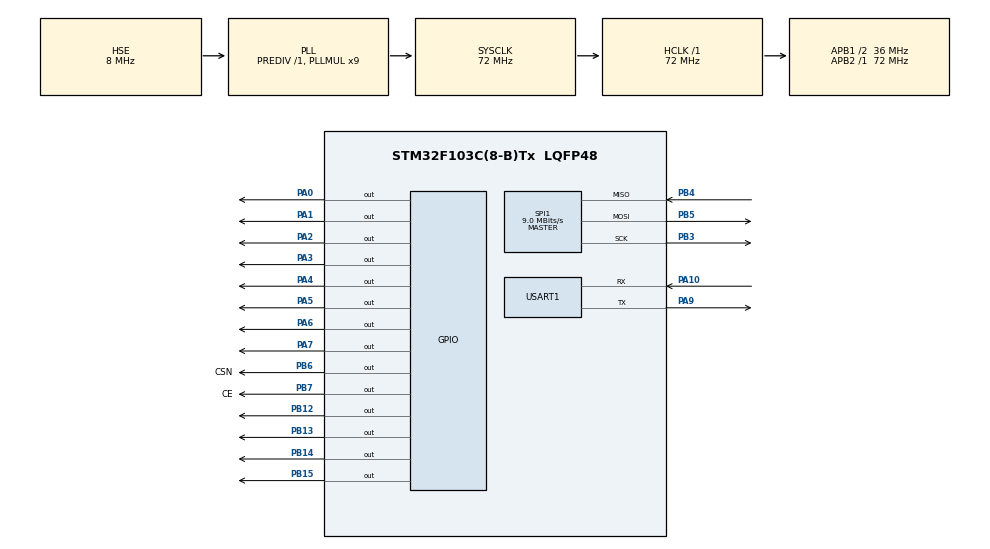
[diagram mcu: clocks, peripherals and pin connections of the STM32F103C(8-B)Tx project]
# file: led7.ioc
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Mcu.Family=STM32F1
Mcu.Name=STM32F103C(8-B)Tx
Mcu.Package=LQFP48
NVIC.PriorityGroup=NVIC_PRIORITYGROUP_4
NVIC.TIM1_UP_IRQn=true\:0\:0\:false\:false\:true\:true\:true
PA0-WKUP.Signal=GPIO_Output
PA1.Signal=GPIO_Output
PA10.Mode=Asynchronous
PA10.Signal=USART1_RX
PA13.Mode=Serial_Wire
PA13.Signal=SYS_JTMS-SWDIO
PA14.Mode=Serial_Wire
PA14.Signal=SYS_JTCK-SWCLK
PA2.Signal=GPIO_Output
PA3.Signal=GPIO_Output
PA4.Signal=GPIO_Output
PA5.Signal=GPIO_Output
PA6.Signal=GPIO_Output
PA7.Signal=GPIO_Output
PA9.Mode=Asynchronous
PA9.Signal=USART1_TX
PB12.Signal=GPIO_Output
PB13.Signal=GPIO_Output
PB14.Signal=GPIO_Output
PB15.Signal=GPIO_Output
PB3.Mode=Full_Duplex_Master
PB3.Signal=SPI1_SCK
PB4.Mode=Full_Duplex_Master
PB4.Signal=SPI1_MISO
PB5.Mode=Full_Duplex_Master
PB5.Signal=SPI1_MOSI
PB6.GPIO_Label=CSN
PB6.Signal=GPIO_Output
PB7.GPIO_Label=CE
PB7.Signal=GPIO_Output
PD0-OSC_IN.Mode=HSE-External-Oscillator
PD0-OSC_IN.Signal=RCC_OSC_IN
PD1-OSC_OUT.Mode=HSE-External-Oscillator
PD1-OSC_OUT.Signal=RCC_OSC_OUT
ProjectManager.HeapSize=0x200
ProjectManager.StackSize=0x400
ProjectManager.TargetToolchain=MDK-ARM V5.27
RCC.AHBFreq_Value=72000000
RCC.APB1CLKDivider=RCC_HCLK_DIV2
RCC.APB1Freq_Value=36000000
RCC.APB1TimFreq_Value=72000000
RCC.APB2Freq_Value=72000000
RCC.APB2TimFreq_Value=72000000
RCC.HCLKFreq_Value=72000000
RCC.PLLMUL=RCC_PLL_MUL9
RCC.PLLSourceVirtual=RCC_PLLSOURCE_HSE
RCC.SYSCLKFreq_VALUE=72000000
RCC.SYSCLKSource=RCC_SYSCLKSOURCE_PLLCLK
RCC.USBFreq_Value=72000000
SPI1.BaudRatePrescaler=SPI_BAUDRATEPRESCALER_8
SPI1.CalculateBaudRate=9.0 MBits/s
SPI1.Direction=SPI_DIRECTION_2LINES
SPI1.Mode=SPI_MODE_MASTER
SPI1.VirtualType=VM_MASTER
TIM1.Period=999
TIM1.Prescaler=71
USART1.VirtualMode=VM_ASYNC
VP_TIM1_VS_ClockSourceINT.Mode=Internal
board=custom

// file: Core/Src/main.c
/* USER CODE BEGIN Header */
/**
  ******************************************************************************
  * @file           : main.c
  * @brief          : Main program body
  ******************************************************************************
  * @attention
  *
  * <h2><center>&copy; Copyright (c) 2020 STMicroelectronics.
  * All rights reserved.</center></h2>
  *
  * This software component is licensed by ST under BSD 3-Clause license,
  * the "License"; You may not use this file except in compliance with the
  * License. You may obtain a copy of the License at:
  *                        opensource.org/licenses/BSD-3-Clause
  *
  ******************************************************************************
  */
/* USER CODE END Header */
#include "main.h"

/* USER CODE BEGIN Includes */
#include "nrf24.h"
/* USER CODE END Includes */

SPI_HandleTypeDef hspi1;

TIM_HandleTypeDef htim1;

UART_HandleTypeDef huart1;

/* USER CODE BEGIN PV */
uint64_t RxpipeAddrs= 0x11223344AA;
char rData[50];
uint8_t cnt=0;
uint8_t buffer[4];
const unsigned char Led7Seg[]={0xC0, 0xF9, 0xA4, 0xB0, 0x99, 0x92, 0x82, 0xF8, 0x80, 0x90};
const unsigned char Led7Com[]={0x40, 0x79, 0x24, 0x30, 0x19, 0x12, 0x02, 0x78, 0x00, 0x10};
/* USER CODE END PV */

void SystemClock_Config(void);
static void MX_GPIO_Init(void);
static void MX_TIM1_Init(void);
static void MX_SPI1_Init(void);
static void MX_USART1_UART_Init(void);

/* USER CODE BEGIN 0 */
void offLed(){
	HAL_GPIO_WritePin(GPIOB, GPIO_PIN_12|GPIO_PIN_13|GPIO_PIN_14|GPIO_PIN_15, GPIO_PIN_SET);
}
void enLed(uint8_t stt){
	offLed();
	switch (stt){
		case 0:
			HAL_GPIO_WritePin(GPIOB, GPIO_PIN_12, GPIO_PIN_RESET);
			break;
		case 1:
			HAL_GPIO_WritePin(GPIOB, GPIO_PIN_13, GPIO_PIN_RESET);
			break;
		case 2:
			HAL_GPIO_WritePin(GPIOB, GPIO_PIN_14, GPIO_PIN_RESET);
			break;
		case 3:
			HAL_GPIO_WritePin(GPIOB, GPIO_PIN_15, GPIO_PIN_RESET);
			break;
	}
}

void onSeg(uint16_t bit){
	HAL_GPIO_WritePin(GPIOA, GPIO_PIN_0, 1&(bit>>0));
	HAL_GPIO_WritePin(GPIOA, GPIO_PIN_1, 1&(bit>>1));
	HAL_GPIO_WritePin(GPIOA, GPIO_PIN_2, 1&(bit>>2));
	HAL_GPIO_WritePin(GPIOA, GPIO_PIN_3, 1&(bit>>3));
	HAL_GPIO_WritePin(GPIOA, GPIO_PIN_4, 1&(bit>>4));
	HAL_GPIO_WritePin(GPIOA, GPIO_PIN_5, 1&(bit>>5));
	HAL_GPIO_WritePin(GPIOA, GPIO_PIN_6, 1&(bit>>6));
	HAL_GPIO_WritePin(GPIOA, GPIO_PIN_7, 1&(bit>>7));
}

void HAL_TIM_PeriodElapsedCallback(TIM_HandleTypeDef *htim){
	enLed(cnt);
	onSeg(buffer[cnt]);
	cnt++;
	if(cnt>3) cnt=0;
}
/* USER CODE END 0 */

int main(void)
{

  /* MCU Configuration--------------------------------------------------------*/

  /* Reset of all peripherals, Initializes the Flash interface and the Systick. */
  HAL_Init();

  /* Configure the system clock */
  SystemClock_Config();

  /* Initialize all configured peripherals */
  MX_GPIO_Init();
  MX_TIM1_Init();
  MX_SPI1_Init();
  MX_USART1_UART_Init();
  /* USER CODE BEGIN 2 */
	HAL_TIM_Base_Start_IT(&htim1);
	NRF24_begin(GPIOB, CSN_Pin, CE_Pin, hspi1);
	nrf24_DebugUART_Init(huart1);
	printRadioSettings();
	NRF24_setAutoAck(false);
	NRF24_setChannel(52);
	NRF24_setPayloadSize(32);
	NRF24_openReadingPipe(1, RxpipeAddrs);
	NRF24_startListening();

  /* USER CODE END 2 */

  /* Infinite loop */
  while (1)
  {

    /* USER CODE BEGIN 3 */

		if(NRF24_available()){
			NRF24_read(rData, 32);

			rData[32] = '\r';
			rData[33] = '\n';
			HAL_UART_Transmit(&huart1, (uint8_t*) rData, 34,10);
		}
//		else{
//			HAL_UART_Transmit(&huart1, "ton ton", 34,10);
//			}
		HAL_Delay(2000);

//		uint8_t x,y,z,t;
//		for(x=0;x<10;x++){
//			buffer[0]=Led7Seg[x];
//			for(y=0;y<10;y++){
//				buffer[1]=Led7Seg[y];
//				for(z=0;z<10;z++){
//					buffer[2]=Led7Com[z];
//					for(t=0;t<10;t++){
//						buffer[3]=Led7Seg[t];
//						HAL_Delay(100);
//					}
//				}
//			}
//		}

  }
  /* USER CODE END 3 */
}

void SystemClock_Config(void)
{
  RCC_OscInitTypeDef RCC_OscInitStruct = {0};
  RCC_ClkInitTypeDef RCC_ClkInitStruct = {0};

  /** Initializes the RCC Oscillators according to the specified parameters
  * in the RCC_OscInitTypeDef structure.
  */
  RCC_OscInitStruct.OscillatorType = RCC_OSCILLATORTYPE_HSE;
  RCC_OscInitStruct.HSEState = RCC_HSE_ON;
  RCC_OscInitStruct.HSEPredivValue = RCC_HSE_PREDIV_DIV1;
  RCC_OscInitStruct.HSIState = RCC_HSI_ON;
  RCC_OscInitStruct.PLL.PLLState = RCC_PLL_ON;
  RCC_OscInitStruct.PLL.PLLSource = RCC_PLLSOURCE_HSE;
  RCC_OscInitStruct.PLL.PLLMUL = RCC_PLL_MUL9;
  if (HAL_RCC_OscConfig(&RCC_OscInitStruct) != HAL_OK)
  {
    Error_Handler();
  }
  /** Initializes the CPU, AHB and APB buses clocks
  */
  RCC_ClkInitStruct.ClockType = RCC_CLOCKTYPE_HCLK|RCC_CLOCKTYPE_SYSCLK
                              |RCC_CLOCKTYPE_PCLK1|RCC_CLOCKTYPE_PCLK2;
  RCC_ClkInitStruct.SYSCLKSource = RCC_SYSCLKSOURCE_PLLCLK;
  RCC_ClkInitStruct.AHBCLKDivider = RCC_SYSCLK_DIV1;
  RCC_ClkInitStruct.APB1CLKDivider = RCC_HCLK_DIV2;
  RCC_ClkInitStruct.APB2CLKDivider = RCC_HCLK_DIV1;

  if (HAL_RCC_ClockConfig(&RCC_ClkInitStruct, FLASH_LATENCY_2) != HAL_OK)
  {
    Error_Handler();
  }
}

static void MX_SPI1_Init(void)
{

  /* SPI1 parameter configuration*/
  hspi1.Instance = SPI1;
  hspi1.Init.Mode = SPI_MODE_MASTER;
  hspi1.Init.Direction = SPI_DIRECTION_2LINES;
  hspi1.Init.DataSize = SPI_DATASIZE_8BIT;
  hspi1.Init.CLKPolarity = SPI_POLARITY_LOW;
  hspi1.Init.CLKPhase = SPI_PHASE_1EDGE;
  hspi1.Init.NSS = SPI_NSS_SOFT;
  hspi1.Init.BaudRatePrescaler = SPI_BAUDRATEPRESCALER_8;
  hspi1.Init.FirstBit = SPI_FIRSTBIT_MSB;
  hspi1.Init.TIMode = SPI_TIMODE_DISABLE;
  hspi1.Init.CRCCalculation = SPI_CRCCALCULATION_DISABLE;
  hspi1.Init.CRCPolynomial = 10;
  if (HAL_SPI_Init(&hspi1) != HAL_OK)
  {
    Error_Handler();
  }

}

static void MX_TIM1_Init(void)
{

  TIM_ClockConfigTypeDef sClockSourceConfig = {0};
  TIM_MasterConfigTypeDef sMasterConfig = {0};

  htim1.Instance = TIM1;
  htim1.Init.Prescaler = 71;
  htim1.Init.CounterMode = TIM_COUNTERMODE_UP;
  htim1.Init.Period = 999;
  htim1.Init.ClockDivision = TIM_CLOCKDIVISION_DIV1;
  htim1.Init.RepetitionCounter = 0;
  htim1.Init.AutoReloadPreload = TIM_AUTORELOAD_PRELOAD_DISABLE;
  if (HAL_TIM_Base_Init(&htim1) != HAL_OK)
  {
    Error_Handler();
  }
  sClockSourceConfig.ClockSource = TIM_CLOCKSOURCE_INTERNAL;
  if (HAL_TIM_ConfigClockSource(&htim1, &sClockSourceConfig) != HAL_OK)
  {
    Error_Handler();
  }
  sMasterConfig.MasterOutputTrigger = TIM_TRGO_RESET;
  sMasterConfig.MasterSlaveMode = TIM_MASTERSLAVEMODE_DISABLE;
  if (HAL_TIMEx_MasterConfigSynchronization(&htim1, &sMasterConfig) != HAL_OK)
  {
    Error_Handler();
  }

}

static void MX_USART1_UART_Init(void)
{

  huart1.Instance = USART1;
  huart1.Init.BaudRate = 115200;
  huart1.Init.WordLength = UART_WORDLENGTH_8B;
  huart1.Init.StopBits = UART_STOPBITS_1;
  huart1.Init.Parity = UART_PARITY_NONE;
  huart1.Init.Mode = UART_MODE_TX_RX;
  huart1.Init.HwFlowCtl = UART_HWCONTROL_NONE;
  huart1.Init.OverSampling = UART_OVERSAMPLING_16;
  if (HAL_UART_Init(&huart1) != HAL_OK)
  {
    Error_Handler();
  }

}

static void MX_GPIO_Init(void)
{
  GPIO_InitTypeDef GPIO_InitStruct = {0};

  /* GPIO Ports Clock Enable */
  __HAL_RCC_GPIOD_CLK_ENABLE();
  __HAL_RCC_GPIOA_CLK_ENABLE();
  __HAL_RCC_GPIOB_CLK_ENABLE();

  /*Configure GPIO pin Output Level */
  HAL_GPIO_WritePin(GPIOA, GPIO_PIN_0|GPIO_PIN_1|GPIO_PIN_2|GPIO_PIN_3
                          |GPIO_PIN_4|GPIO_PIN_5|GPIO_PIN_6|GPIO_PIN_7, GPIO_PIN_RESET);

  /*Configure GPIO pin Output Level */
  HAL_GPIO_WritePin(GPIOB, GPIO_PIN_12|GPIO_PIN_13|GPIO_PIN_14|GPIO_PIN_15
                          |CSN_Pin|CE_Pin, GPIO_PIN_RESET);

  /*Configure GPIO pins : PA0 PA1 PA2 PA3
                           PA4 PA5 PA6 PA7 */
  GPIO_InitStruct.Pin = GPIO_PIN_0|GPIO_PIN_1|GPIO_PIN_2|GPIO_PIN_3
                          |GPIO_PIN_4|GPIO_PIN_5|GPIO_PIN_6|GPIO_PIN_7;
  GPIO_InitStruct.Mode = GPIO_MODE_OUTPUT_PP;
  GPIO_InitStruct.Pull = GPIO_NOPULL;
  GPIO_InitStruct.Speed = GPIO_SPEED_FREQ_LOW;
  HAL_GPIO_Init(GPIOA, &GPIO_InitStruct);

  /*Configure GPIO pins : PB12 PB13 PB14 PB15
                           CSN_Pin CE_Pin */
  GPIO_InitStruct.Pin = GPIO_PIN_12|GPIO_PIN_13|GPIO_PIN_14|GPIO_PIN_15
                          |CSN_Pin|CE_Pin;
  GPIO_InitStruct.Mode = GPIO_MODE_OUTPUT_PP;
  GPIO_InitStruct.Pull = GPIO_NOPULL;
  GPIO_InitStruct.Speed = GPIO_SPEED_FREQ_LOW;
  HAL_GPIO_Init(GPIOB, &GPIO_InitStruct);

}

void Error_Handler(void)
{
  __disable_irq();
  while (1)
  {
  }
}

/************************ (C) COPYRIGHT STMicroelectronics *****END OF FILE****/
